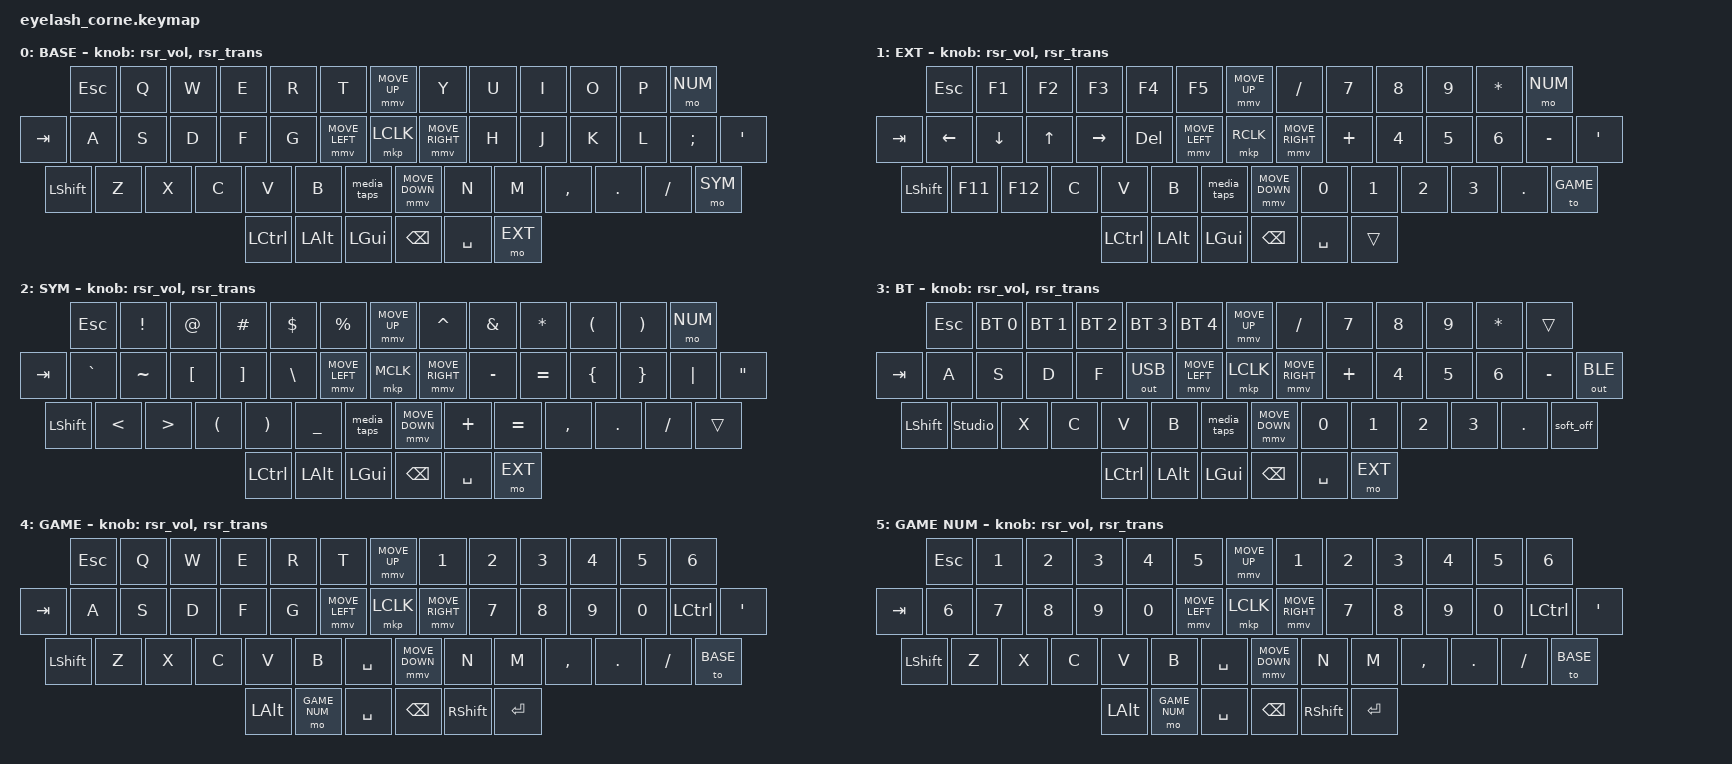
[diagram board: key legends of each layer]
#define ZMK_POINTING_DEFAULT_MOVE_VAL 1200  // 600
#define ZMK_POINTING_DEFAULT_SCRL_VAL 25   // 10

#include <input/processors.dtsi>
#include <zephyr/dt-bindings/input/input-event-codes.h>
#include <behaviors.dtsi>
#include <behaviors/runtime-sensor-rotate.dtsi>
#include <dt-bindings/zmk/bt.h>
#include <dt-bindings/zmk/keys.h>
#include <dt-bindings/zmk/outputs.h>
#include <dt-bindings/zmk/pointing.h>
#include <dt-bindings/zmk/rgb.h>

&soft_off { hold-time-ms = <2000>; };


#define BASE 0
#define EXT 1
#define SYM 2
#define NUM 3
#define GAME 4
#define GAME_NUM 5

/ {
    behaviors {
        media_taps: media_taps {
            compatible = "zmk,behavior-tap-dance";
            #binding-cells = <0>;
            tapping-term-ms = <250>;
            bindings = <&kp C_PP>, <&kp C_NEXT>, <&kp C_PREV>;
        };

        rsr_vol: rsr_vol {
            compatible = "zmk,behavior-runtime-sensor-rotate";
            #sensor-binding-cells = <0>;
            tap-ms = <5>;
            cw-binding = <&kp C_VOL_UP>;
            ccw-binding = <&kp C_VOL_DN>;
        };
        rsr_trans: rsr_trans {
            compatible = "zmk,behavior-runtime-sensor-rotate";
            #sensor-binding-cells = <0>;
            tap-ms = <0>;
        };
    };
    combos {
        compatible = "zmk,combos";
        combo_escape {
            timeout-ms = <40>;
            require-prior-idle-ms = <150>;
            key-positions = <2 3>;
            layers = <BASE>;
            bindings = <&kp ESC>;
        };
        combo_backspace {
            timeout-ms = <40>;
            require-prior-idle-ms = <150>;
            key-positions = <9 10>;
            layers = <BASE>;
            bindings = <&kp BSPC>;
        };
        combo_tab {
            timeout-ms = <40>;
            require-prior-idle-ms = <150>;
            key-positions = <30 31>;
            layers = <BASE>;
            bindings = <&kp TAB>;
        };
        combo_enter {
            timeout-ms = <40>;
            require-prior-idle-ms = <150>;
            key-positions = <24 25>;
            layers = <BASE>;
            bindings = <&kp ENTER>;
        };
    };
    keymap {
        compatible = "zmk,keymap";
        base_layer {
            display-name = "BASE";
            bindings = <
                &kp ESC  &kp Q  &kp W  &kp E  &kp R  &kp T  &mmv MOVE_UP  &kp Y  &kp U  &kp I  &kp O  &kp P  &mo NUM
                &kp TAB  &kp A  &kp S  &kp D  &kp F  &kp G  &mmv MOVE_LEFT  &mkp LCLK  &mmv MOVE_RIGHT  &kp H  &kp J  &kp K  &kp L  &kp SEMI  &kp SQT
                &kp LSHFT  &kp Z  &kp X  &kp C  &kp V  &kp B  &media_taps  &mmv MOVE_DOWN  &kp N  &kp M  &kp COMMA  &kp DOT  &kp FSLH  &mo SYM
                &kp LCTRL  &kp LALT  &kp LGUI  &kp BSPC  &kp SPACE  &mo EXT
            >;
            sensor-bindings = <&rsr_vol &rsr_trans>;
        };
        ext_layer {
            display-name = "EXT";
            bindings = <
                &kp ESC  &kp F1  &kp F2  &kp F3  &kp F4  &kp F5  &mmv MOVE_UP  &kp FSLH  &kp N7  &kp N8  &kp N9  &kp ASTRK  &mo NUM
                &kp TAB  &kp LEFT  &kp DOWN  &kp UP  &kp RIGHT  &kp DEL  &mmv MOVE_LEFT  &mkp RCLK  &mmv MOVE_RIGHT  &kp PLUS  &kp N4  &kp N5  &kp N6  &kp MINUS  &kp SQT
                &kp LSHFT  &kp F11  &kp F12  &kp C  &kp V  &kp B  &media_taps  &mmv MOVE_DOWN  &kp N0  &kp N1  &kp N2  &kp N3  &kp DOT  &to GAME
                &kp LCTRL  &kp LALT  &kp LGUI  &kp BSPC  &kp SPACE  &trans
            >;
            sensor-bindings = <&rsr_vol &rsr_trans>;
        };
        sym_layer {
            display-name = "SYM";
            bindings = <
                &kp ESC  &kp EXCL  &kp AT  &kp HASH  &kp DLLR  &kp PRCNT  &mmv MOVE_UP  &kp CARET  &kp AMPS  &kp ASTRK  &kp LPAR  &kp RPAR  &mo NUM
                &kp TAB  &kp GRAVE  &kp TILDE  &kp LBKT  &kp RBKT  &kp BSLH  &mmv MOVE_LEFT  &mkp MCLK  &mmv MOVE_RIGHT  &kp MINUS  &kp EQUAL  &kp LBRC  &kp RBRC  &kp PIPE  &kp DQT
                &kp LSHFT  &kp LT  &kp GT  &kp LPAR  &kp RPAR  &kp UNDER  &media_taps  &mmv MOVE_DOWN  &kp PLUS  &kp EQUAL  &kp COMMA  &kp DOT  &kp FSLH  &trans
                &kp LCTRL  &kp LALT  &kp LGUI  &kp BSPC  &kp SPACE  &mo EXT
            >;
            sensor-bindings = <&rsr_vol &rsr_trans>;
        };
        num_layer {
            display-name = "BT";
            bindings = <
                &kp ESC  &bt BT_SEL 0  &bt BT_SEL 1  &bt BT_SEL 2  &bt BT_SEL 3  &bt BT_SEL 4  &mmv MOVE_UP  &kp FSLH  &kp N7  &kp N8  &kp N9  &kp ASTRK  &trans
                &kp TAB  &kp A  &kp S  &kp D  &kp F  &out OUT_USB  &mmv MOVE_LEFT  &mkp LCLK  &mmv MOVE_RIGHT  &kp PLUS  &kp N4  &kp N5  &kp N6  &kp MINUS  &out OUT_BLE
                &kp LSHFT  &studio_unlock  &kp X  &kp C  &kp V  &kp B  &media_taps  &mmv MOVE_DOWN  &kp N0  &kp N1  &kp N2  &kp N3  &kp DOT  &soft_off
                &kp LCTRL  &kp LALT  &kp LGUI  &kp BSPC  &kp SPACE  &mo EXT
            >;
            sensor-bindings = <&rsr_vol &rsr_trans>;
        };
        game_layer {
            display-name = "GAME";
            bindings = <
                &kp ESC  &kp Q  &kp W  &kp E  &kp R  &kp T  &mmv MOVE_UP  &kp N1  &kp N2  &kp N3  &kp N4  &kp N5  &kp N6
                &kp TAB  &kp A  &kp S  &kp D  &kp F  &kp G  &mmv MOVE_LEFT  &mkp LCLK  &mmv MOVE_RIGHT  &kp N7  &kp N8  &kp N9  &kp N0  &kp LCTRL  &kp SQT
                &kp LSHFT  &kp Z  &kp X  &kp C  &kp V  &kp B  &kp SPACE  &mmv MOVE_DOWN  &kp N  &kp M  &kp COMMA  &kp DOT  &kp FSLH  &to BASE
                &kp LALT  &mo GAME_NUM  &kp SPACE  &kp BSPC  &kp RSHFT  &kp ENTER
            >;
            sensor-bindings = <&rsr_vol &rsr_trans>;
        };
        game_num_layer {
            display-name = "GAME NUM";
            bindings = <
                &kp ESC  &kp N1  &kp N2  &kp N3  &kp N4  &kp N5  &mmv MOVE_UP  &kp N1  &kp N2  &kp N3  &kp N4  &kp N5  &kp N6
                &kp TAB  &kp N6  &kp N7  &kp N8  &kp N9  &kp N0  &mmv MOVE_LEFT  &mkp LCLK  &mmv MOVE_RIGHT  &kp N7  &kp N8  &kp N9  &kp N0  &kp LCTRL  &kp SQT
                &kp LSHFT  &kp Z  &kp X  &kp C  &kp V  &kp B  &kp SPACE  &mmv MOVE_DOWN  &kp N  &kp M  &kp COMMA  &kp DOT  &kp FSLH  &to BASE
                &kp LALT  &mo GAME_NUM  &kp SPACE  &kp BSPC  &kp RSHFT  &kp ENTER
            >;
            sensor-bindings = <&rsr_vol &rsr_trans>;
        };
    };
};
